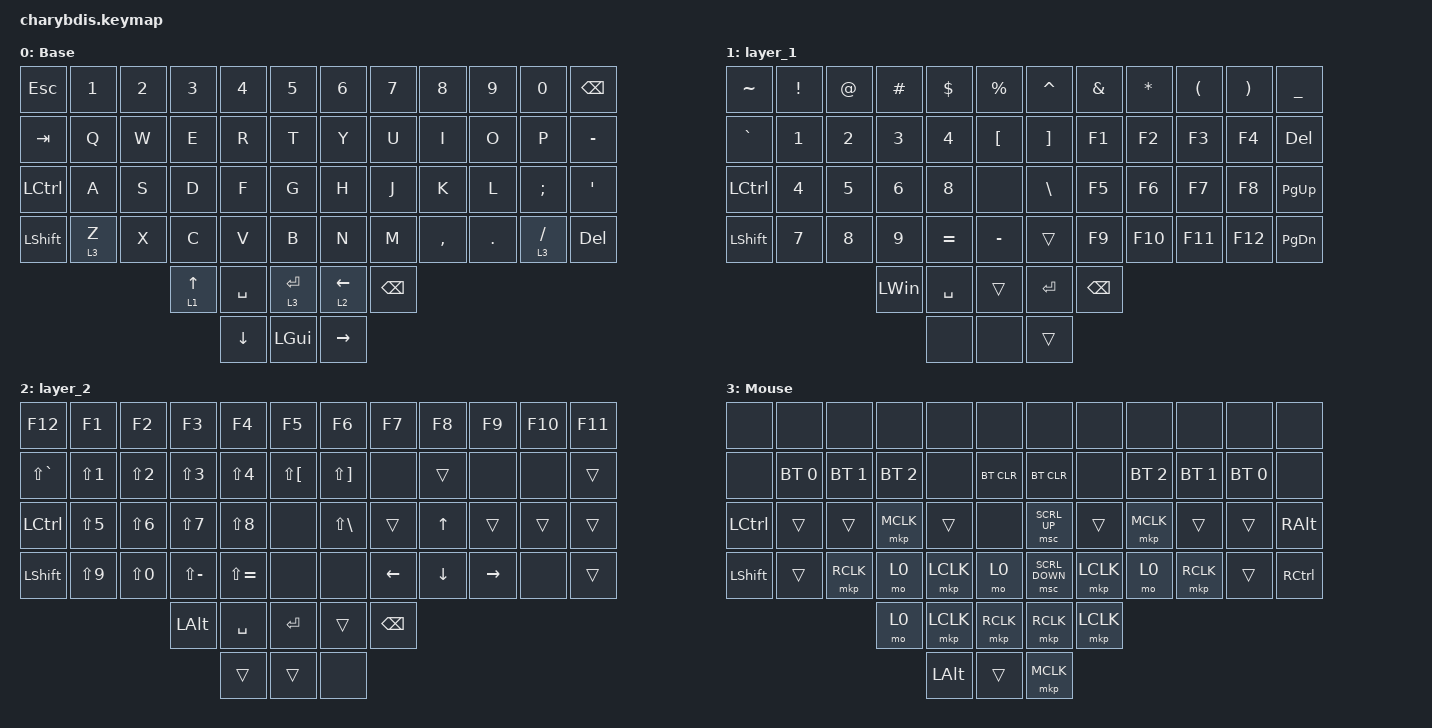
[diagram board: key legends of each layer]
#include <dt-bindings/zmk/mouse.h>
#include <behaviors.dtsi>
#include <dt-bindings/zmk/bt.h>
#include <dt-bindings/zmk/keys.h>
#include <dt-bindings/zmk/pointing.h>
#include <dt-bindings/zmk/pointing.h>

&lt {
    tapping-term-ms = <200>;
    flavor = "balanced";
    quick-tap-ms = <150>;
};

/ {
    combos {
        compatible = "zmk,combos";

        escc {
            bindings = <&kp ESC>;
            key-positions = <17 18>;
            layers = <0>;
        };
    };

    keymap {
        compatible = "zmk,keymap";

        Base {
            bindings = <
&kp ESC         &kp N1   &kp N2  &kp N3          &kp N4     &kp N5          &kp N6            &kp N7         &kp N8     &kp N9   &kp N0       &kp BSPC
&kp TAB         &kp Q    &kp W   &kp E           &kp R      &kp T           &kp Y             &kp U          &kp I      &kp O    &kp P        &kp MINUS
&kp LCTRL       &kp A    &kp S   &kp D           &kp F      &kp G           &kp H             &kp J          &kp K      &kp L    &kp SEMI     &kp APOS
&kp LEFT_SHIFT  &lt 3 Z  &kp X   &kp C           &kp V      &kp B           &kp N             &kp M          &kp COMMA  &kp DOT  &lt 3 SLASH  &kp DELETE
                                 &lt 1 UP_ARROW  &kp SPACE  &lt 3 ENTER     &lt 2 LEFT_ARROW  &kp BACKSPACE
                                                 &kp DOWN   &kp LEFT_GUI    &kp RIGHT
            >;

            trackball-bindings = <&tmv_coarse>;
        };

        layer_1 {
            bindings = <
&kp TILDE         &kp EXCLAMATION  &kp AT_SIGN   &kp HASH      &kp DOLLAR    &kp PERCENT    &kp CARET  &kp AMPERSAND  &kp ASTERISK  &kp LEFT_PARENTHESIS  &kp RIGHT_PARENTHESIS  &kp UNDERSCORE
&kp GRAVE         &kp NUMBER_1     &kp NUMBER_2  &kp NUMBER_3  &kp NUMBER_4  &kp LBKT       &kp RBKT   &kp F1         &kp F2        &kp F3                &kp F4                 &kp DEL
&kp LEFT_CONTROL  &kp NUMBER_4     &kp N5        &kp NUMBER_6  &kp NUMBER_8  &none          &kp BSLH   &kp F5         &kp F6        &kp F7                &kp F8                 &kp PAGE_UP
&kp LSHFT         &kp N7           &kp N8        &kp N9        &kp EQUAL     &kp MINUS      &trans     &kp F9         &kp F10       &kp F11               &kp F12                &kp PAGE_DOWN
                                                 &kp LEFT_WIN  &kp SPACE     &trans         &kp ENTER  &kp BACKSPACE
                                                               &none         &none          &trans
            >;
        };

        layer_2 {
            bindings = <
&kp F12           &kp F1      &kp F2      &kp F3         &kp F4         &kp F5          &kp F6        &kp F7         &kp F8    &kp F9     &kp F10  &kp F11
&kp LS(GRAVE)     &kp LS(N1)  &kp LS(N2)  &kp LS(N3)     &kp LS(N4)     &kp LS(LBKT)    &kp LS(RBKT)  &none          &trans    &none      &none    &trans
&kp LEFT_CONTROL  &kp LS(N5)  &kp LS(N6)  &kp LS(N7)     &kp LS(N8)     &none           &kp LS(BSLH)  &trans         &kp UP    &trans     &trans   &trans
&kp LEFT_SHIFT    &kp LS(N9)  &kp LS(N0)  &kp LS(MINUS)  &kp LS(EQUAL)  &none           &none         &kp LEFT       &kp DOWN  &kp RIGHT  &none    &trans
                                          &kp LEFT_ALT   &kp SPACE      &kp ENTER       &trans        &kp BACKSPACE
                                                         &trans         &trans          &none
            >;
        };

        Mouse {
            bindings = <
&none           &none         &none         &none         &none         &none         &none           &none      &none         &none         &none         &none
&none           &bt BT_SEL 0  &bt BT_SEL 1  &bt BT_SEL 2  &none         &bt BT_CLR    &bt BT_CLR      &none      &bt BT_SEL 2  &bt BT_SEL 1  &bt BT_SEL 0  &none
&kp LCTRL       &trans        &trans        &mkp MCLK     &trans        &none         &msc SCRL_UP    &trans     &mkp MCLK     &trans        &trans        &kp RIGHT_ALT
&kp LEFT_SHIFT  &trans        &mkp RCLK     &mo 0         &mkp LCLK     &mo 0         &msc SCRL_DOWN  &mkp LCLK  &mo 0         &mkp RCLK     &trans        &kp RIGHT_CONTROL
                                            &mo 0         &mkp LCLK     &mkp RCLK     &mkp RCLK       &mkp LCLK
                                                          &kp LEFT_ALT  &trans        &mkp MCLK
            >;
        };
    };
};
